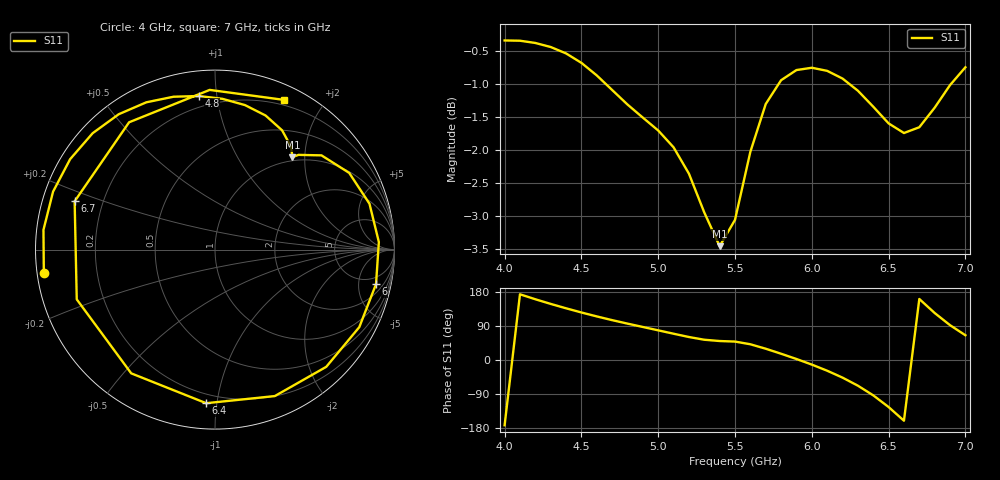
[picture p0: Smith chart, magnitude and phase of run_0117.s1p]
! Touchstone file exported from HFSS 2024.2.0
!  File:  C:/Users/wsak9/Desktop/Sim Fast/Widenad Patch/WP_AI_V1_sweep.aedt
!  Generated:  07:47:25 PM Oct 13, 2026
!  Design:  A1_model
!  Project:  WP_AI_V1_sweep
!  Setup:  Setup1
!  Solution:  Sweep
! Variables:
!  Air_gap = 4.38mm
!  Curve_Amp1 = 1.83
!  Curve_len1 = 1
!  Curve_pos = 11.23mm
!  Extra = 7.12mm
!  H_sub = 0.79mm
!  L_Patch = 18.46mm
!  L_Patch1 = 17.76mm
!  Sx = 3.81mm
!  Sy = 4mm
!  WS = 0.31mm
!  W_Patch = 17.87mm
!  W_Patch1 = 10.64mm
!Data is not renormalized
# GHz S MA
! Terminal data exported
! Port[1] = 1
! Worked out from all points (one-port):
!   31 points, 4 GHz to 7 GHz, reference per port
!   lowest |S11| = -3.5 dB at 5.4 GHz (marker M1), VSWR 5.09
!   |S11| at or under -10 dB: nowhere
!   S11 on the Smith chart (normalised r, x): 4 GHz: 0.02, -0.07; 4.8 GHz: 0.14, +0.89; 6 GHz: 3.32, -8.08; 6.4 GHz: 0.14, -0.93; 6.7 GHz: 0.10, +0.17; 7 GHz: 0.15, +1.55
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4  0.9624 -172.3
4.1  0.962 173.4
4.2  0.9582 160.3
4.3  0.9515 148.0
4.4  0.9409 136.4
4.5  0.9255 125.4
4.6  0.9054 115.0
4.8  0.8605 96.0
5  0.8223 78.3
5.2  0.7625 60.6
5.3  0.7125 53.5
5.4  0.6717 50.1
5.5  0.7033 48.6
5.6  0.7922 41.5
5.7  0.8612 29.7
5.8  0.8978 16.5
5.9  0.9139 2.7
6  0.9176 -12.1
6.1  0.9126 -28.3
6.2  0.9004 -46.5
6.3  0.8815 -67.8
6.4  0.8572 -93.3
6.5  0.8326 -124.1
6.6  0.8186 -160.2
6.7  0.827 161.0
6.8  0.8557 124.0
6.9  0.8902 91.9
7  0.9183 65.3
